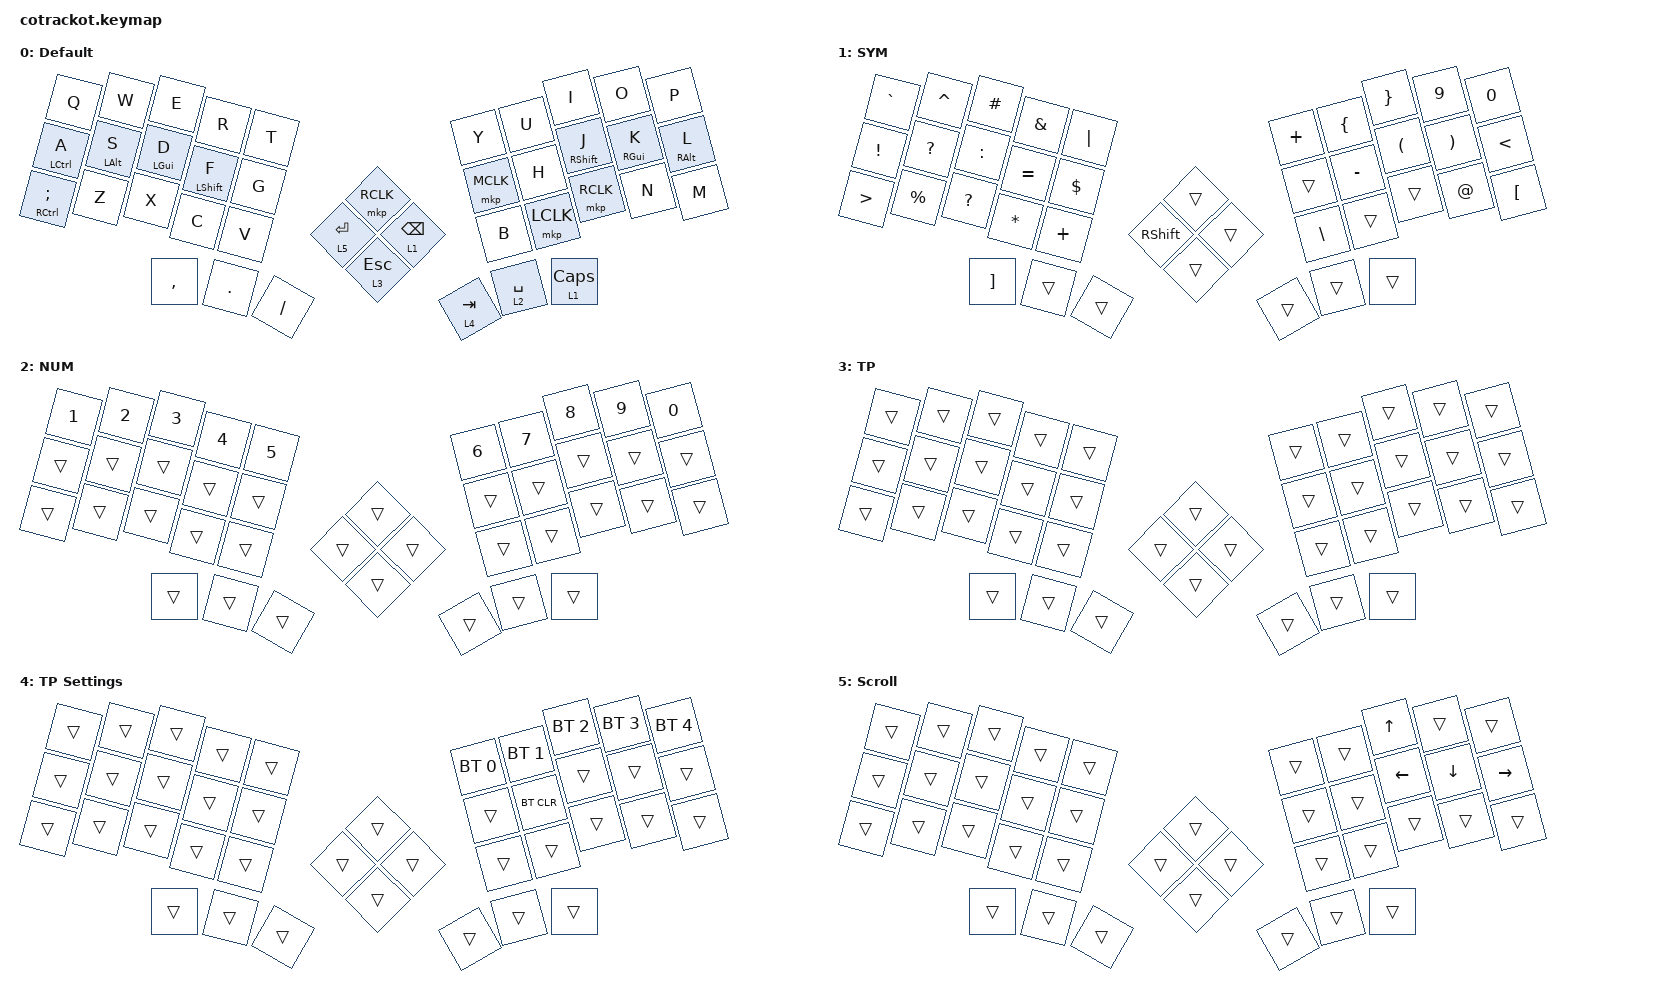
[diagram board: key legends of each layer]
/*
* Copyright (c) 2021 The ZMK Contributors
*
* SPDX-License-Identifier: MIT
*/

#include <behaviors.dtsi>
#include <dt-bindings/zmk/keys.h>
#include <dt-bindings/zmk/bt.h>

#define MAIN 0 
#define SYM 1 
#define NUM 2 
#define MOUSE_TP 3
#define MOUSE_TP_SET 4
#define SCROLL 5

#define HAS_MOUSE_KEYS
#define HAS_MOUSE_TP

#ifdef HAS_MOUSE_KEYS
  #include <dt-bindings/zmk/mouse.h>
  #include <behaviors/mouse_keys.dtsi>
#endif  // HAS_MOUSE_KEYS

#ifdef HAS_MOUSE_TP
  // We store the trackpoint settings in a separate file
  // to make organization a little easier.
  #include "../../../include/mouse_tp.dtsi"
#endif  // HAS_MOUSE_TP

// Adjust layer keys based on enabled features.
//
// This prevents build errors when we build the firmware
// without the mouse keys PR or the TP module.
#ifdef HAS_MOUSE_KEYS
  #define U_THUMB_INNER &mo MOUSE_KEYS
#else
  #define U_THUMB_INNER &none
#endif  // HAS_MOUSE_KEYS

#ifdef HAS_MOUSE_TP
  #define U_TOG_TP_SET &tog MOUSE_TP_SET
#else
  #define U_TOG_TP_SET &none
#endif  // HAS_MOUSE_TP

/ {

  combos { compatible = "zmk,combos"; };

    behaviors {
        hm: homerow_mods {
            compatible = "zmk,behavior-hold-tap";
            label = "HOMEROW_MODS";
            bindings = <&kp>, <&kp>;

            #binding-cells = <2>;
            tapping-term-ms = <200>;
            quick-tap-ms = <150>;
            flavor = "tap-preferred";
        };

        ltq: ltq {
            compatible = "zmk,behavior-hold-tap";
            label = "LTQ";
            bindings = <&mo>, <&kp>;

            #binding-cells = <2>;
            tapping-term-ms = <200>;
            quick-tap-ms = <180>;
        };

        as: auto_shift {
            compatible = "zmk,behavior-hold-tap";
            label = "AUTO_SHIFT";
            bindings = <&kp>, <&kp>;

            #binding-cells = <2>;
            tapping-term-ms = <135>;
            quick-tap-ms = <0>;
        };
    };


    keymap {
      compatible = "zmk,keymap";

      MAIN_layer {
          display-name = "Default";
            bindings = <
              &kp Q        &kp W       &kp E       &kp R         &kp T                              &kp Y        &kp U         &kp I        &kp O       &kp P              
              &hm LCTRL A  &hm LALT S  &hm LGUI D  &hm LSHFT F   &kp G              &mkp MCLK       &kp H        &hm RSHFT J   &hm RGUI K   &hm RALT L  &hm RCTRL SEMICOLON 
              &kp Z        &kp X       &kp C       &kp V         &kp B        &mkp LCLK  &mkp RCLK  &kp N        &kp M         &kp COMMA    &kp PERIOD  &kp SLASH            
                                       &lt 4 TAB   &lt 2 SPACE   &lt 1 CAPS         &mkp RCLK       &lt 1 BSPC   &lt 5 ENTER   &lt 3 ESC      
            >; 
      };
      SYM {
            bindings = <
              &kp GRAVE     &kp CARET     &kp POUND     &kp AMPS      &kp PIPE                       &kp PLUS    &kp LBRC   &kp RBRC   &kp N9  &kp N0   
              &kp EXCL      &kp QMARK     &kp COLON     &kp EQUAL     &kp DLLR       &trans          &kp MINUS   &kp LPAR   &kp RPAR   &kp LT  &kp GT   
              &kp PRCNT     &kp QMARK     &kp STAR      &kp PLUS      &kp BSLH    &trans  &trans     &kp AT      &kp LBKT   &kp RBKT   &trans  &trans   
                                          &trans        &trans        &trans         &trans          &trans      &kp RSHFT  &trans   
            >;
      };
      NUM {
            bindings = <
              &kp N1  &kp N2  &kp N3  &kp N4  &kp N5                   &kp N6  &kp N7  &kp N8  &kp N9  &kp N0 
              &trans  &trans  &trans  &trans  &trans        &trans     &trans  &trans  &trans  &trans  &trans 
              &trans  &trans  &trans  &trans  &trans   &trans  &trans  &trans  &trans  &trans  &trans  &trans  
                              &trans  &trans  &trans       &trans      &trans  &trans  &trans  
            >;
      };

#ifdef HAS_MOUSE_TP

    // Automatically activated when the mouse or trackpoint moves.
    // Configured in `include/mouse_tp.dtsi`.
    MouseTP_layer {
      display-name = "TP";
      bindings = <
              &trans  &trans  &trans  &trans  &trans                   &trans  &trans  &trans  &trans  &trans 
              &trans  &trans  &trans  &trans  &trans        &trans     &trans  &trans  &trans  &trans  &trans  
              &trans  &trans  &trans  &trans  &trans   &trans  &trans  &trans  &trans  &trans  &trans  &trans
                              &trans  &trans  &trans       &trans      &trans  &trans  &trans       
            >; 
    };

    // You can find the defines for the actual key press behaviors in `include/mouse_tp.dtsi`.
    MouseSettings_layer {
      display-name = "TP Settings";
      bindings = <
              &trans  &trans  &trans  &trans  &trans                   &bt BT_SEL 0  &bt BT_SEL 1  &bt BT_SEL 2  &bt BT_SEL 3  &bt BT_SEL 4  
              &trans  &trans  &trans  &trans  &trans        &trans     &bt BT_CLR    &trans        &trans        &trans        &trans       
              &trans  &trans  &trans  &trans  &trans   &trans  &trans  &trans        &trans        &trans        &trans        &trans      
                              &trans  &trans  &trans       &trans      &trans        &trans        &trans         
            >; 
    };

    SCROLL {
      display-name = "Scroll";
      bindings = <
              &trans  &trans  &trans  &trans  &trans                   &trans  &trans    &kp UP    &trans     &trans  
              &trans  &trans  &trans  &trans  &trans        &trans     &trans  &kp LEFT  &kp DOWN  &kp RIGHT  &trans  
              &trans  &trans  &trans  &trans  &trans   &trans  &trans  &trans  &trans    &trans    &trans     &trans 
                              &trans  &trans  &trans       &trans      &trans  &trans    &trans          
            >; 
    };

#endif
    };
};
